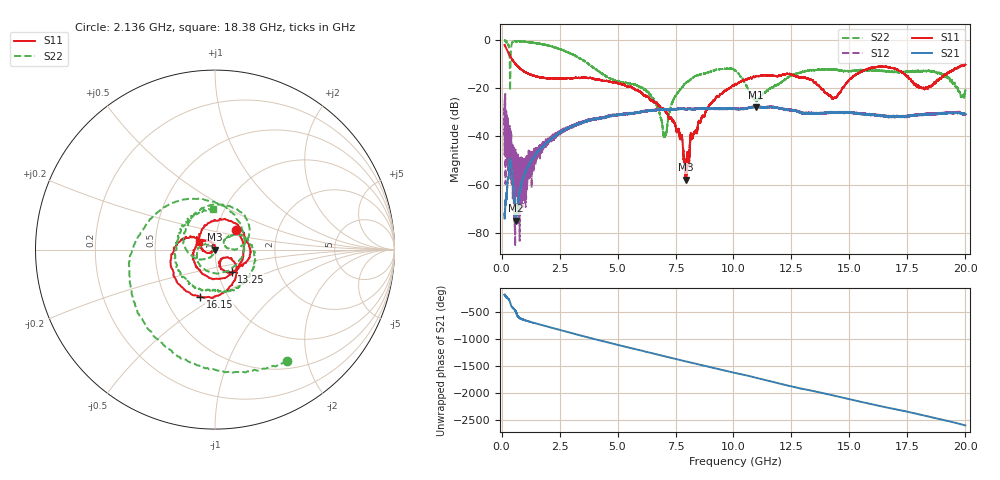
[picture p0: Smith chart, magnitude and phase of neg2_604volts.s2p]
!Created with skrf (http://scikit-rf.org).
# GHz S RI R 50.0
!freq ReS11 ImS11 ReS21 ImS21 ReS12 ImS12 ReS22 ImS22
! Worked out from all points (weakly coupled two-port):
!   20013 points, 130 MHz to 20 GHz, reference 50 ohm
!   highest |S21| = -27.74 dB at 10.97 GHz (marker M1); lowest = -74.9 dB at 621 MHz (marker M2)
!   lowest |S11| = -58.0 dB at 7.955 GHz (marker M3), VSWR 1.00, Z = 49.9 + j0.0388 ohm
!   |S11| at or under -10 dB: 603.5 MHz to end of sweep
!   |S22| runs from -40.4 to -0.2 dB; largest |S21 - S12| = 0.077
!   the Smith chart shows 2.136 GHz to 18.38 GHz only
!   S11 on the Smith chart (normalised r, x): 2.136 GHz: 1.23, +0.28; 13.25 GHz: 1.17, -0.29; 16.15 GHz: 0.75, -0.42; 18.38 GHz: 0.83, +0.07
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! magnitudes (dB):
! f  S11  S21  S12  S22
! 130 MHz  -2.1  -72.2  -28.1  -0.2
! 368 MHz  -6.7  -49.3  -48.5  -20.1
! 621 MHz  -10.2  -74.9  -50.6  -0.5
! 1.19 GHz  -14.1  -51.6  -53.7  -0.9
! 2.136 GHz  -15.8  -41.0  -42.1  -2.6
! 3.442 GHz  -15.7  -34.4  -34.4  -8.0
! 6.133 GHz  -23.0  -29.5  -29.7  -20.3
! 6.754 GHz  -27.0  -28.9  -29.0  -28.5
! 7.051 GHz  -29.4  -28.9  -29.1  -39.8
! 7.358 GHz  -32.9  -28.8  -28.9  -26.1
! 7.7 GHz  -40.9  -28.5  -28.5  -20.5
! 7.955 GHz  -58.0  -28.7  -28.6  -17.7
! 8.573 GHz  -33.8  -28.4  -28.5  -14.2
! 10.06 GHz  -18.2  -28.5  -28.5  -12.6
! 10.97 GHz  -15.0  -27.7  -27.8  -24.7
! 13.25 GHz  -16.2  -30.5  -30.4  -12.7
! 13.38 GHz  -16.6  -30.4  -30.3  -12.5
! 14.35 GHz  -24.0  -30.0  -30.0  -12.1
! 16.15 GHz  -11.2  -31.2  -31.0  -12.6
! 16.69 GHz  -11.3  -31.6  -31.9  -13.0
! 18.38 GHz  -20.0  -30.8  -30.7  -12.8
! 20 GHz  -10.2  -30.8  -30.9  -20.8
